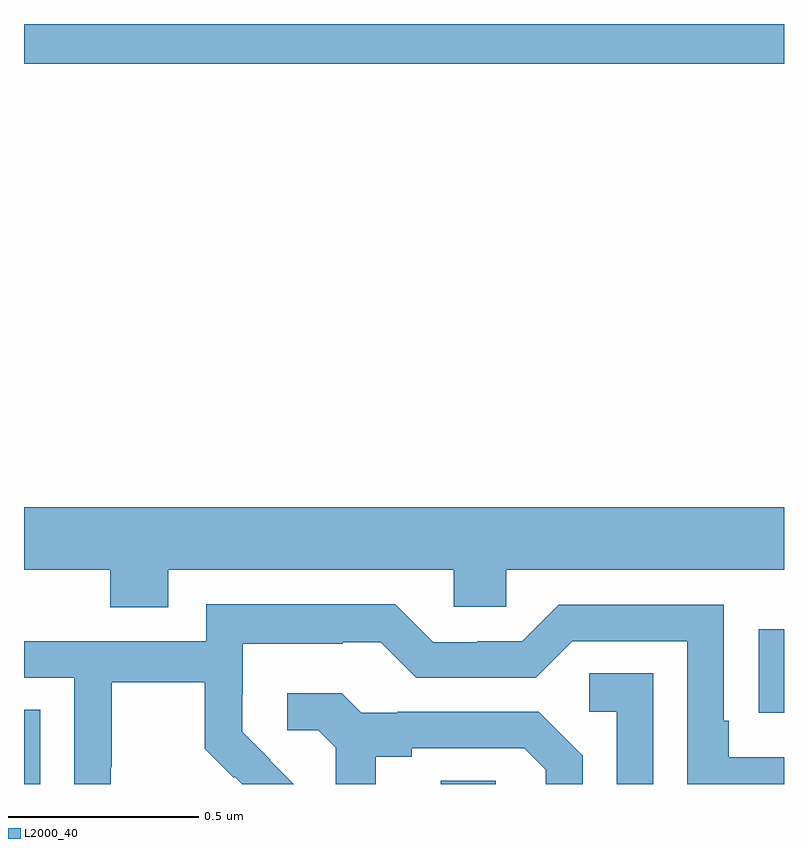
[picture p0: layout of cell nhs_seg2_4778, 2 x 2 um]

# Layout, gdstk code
import gdstk
lib = gdstk.Library(unit=1e-6, precision=1e-09)
def R(c, l, rs):  # rectangles x0, y0, x1, y1
    for r in rs: c.add(gdstk.rectangle(r[:2], r[2:], *l))
def P(c, l, *ps):  # polygons
    for p in ps: c.add(gdstk.Polygon(p, *l))
L2000_40 = (2000, 40)

nhs_seg2_4778 = lib.new_cell('nhs_seg2_4778')
R(nhs_seg2_4778, L2000_40, [(171,585.8,171.043,585.995), (172.097,585.8,172.242,585.809), (172.933,585.988,173,586.207), (171,587.696,173,587.8)])
P(nhs_seg2_4778, L2000_40, [(171.379,586.364),(172.131,586.364),(172.131,586.266),(172.269,586.266),(172.269,586.364),(173,586.364),(173,586.528),(171,586.528),(171,586.364),(171.227,586.364),(171.227,586.265),(171.379,586.265)],
  [(171.228,585.844),(171.231,585.844),(171.231,586.068),(171.475,586.068),(171.475,585.893),(171.552,585.816),(171.555,585.819),(171.574,585.8),(171.71,585.8),(171.647,585.863),(171.648,585.864),(171.574,585.938),(171.574,586.035),(171.576,586.035),(171.576,586.169),(171.839,586.169),(171.839,586.173),(171.939,586.173),(172.032,586.08),(172.347,586.08),(172.443,586.176),(172.746,586.176),(172.746,585.8),(173,585.8),(173,585.87),(172.855,585.87),(172.855,585.967),(172.842,585.967),(172.842,586.272),(172.407,586.272),(172.311,586.176),(172.193,586.176),(172.193,586.173),(172.077,586.173),(171.977,586.273),(171.48,586.273),(171.48,586.176),(171,586.176),(171,586.08),(171.132,586.08),(171.132,585.8),(171.228,585.8)],
  [(172.656,586.091),(172.488,586.091),(172.488,585.99),(172.56,585.99),(172.56,585.8),(172.656,585.8)],
  [(171.925,585.872),(172.021,585.872),(172.021,585.894),(172.316,585.894),(172.373,585.837),(172.373,585.8),(172.47,585.8),(172.47,585.874),(172.354,585.99),(171.982,585.99),(171.982,585.987),(171.888,585.987),(171.836,586.039),(171.693,586.039),(171.693,585.942),(171.774,585.942),(171.821,585.895),(171.821,585.8),(171.925,585.8)])

lib.write_gds('nhs_seg2_4778.gds')
